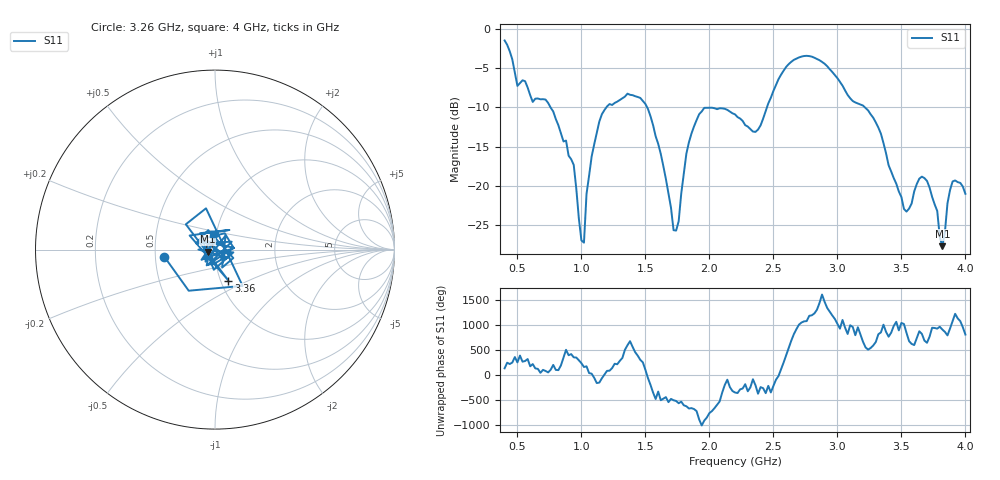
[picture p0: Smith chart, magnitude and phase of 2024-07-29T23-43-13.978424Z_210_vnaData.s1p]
!Created with skrf (http://scikit-rf.org).
# Hz S RI R 50.0
!freq ReS11 ImS11
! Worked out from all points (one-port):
!   181 points, 400 MHz to 4 GHz, reference 50 ohm
!   lowest |S11| = -27.6 dB at 3.82 GHz (marker M1), VSWR 1.09, Z = 46.2 - j1.1 ohm
!   |S11| at or under -10 dB: 759 MHz to 1.195 GHz (435.7 MHz wide, 44.6 % of centre); 1.514 GHz to 2.45 GHz (935.7 MHz wide, 47.2 % of centre); 3.216 GHz to end of sweep
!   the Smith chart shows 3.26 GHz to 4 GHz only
!   S11 on the Smith chart (normalised r, x): 3.26 GHz: 0.56, -0.05; 3.36 GHz: 1.09, -0.39; 4 GHz: 0.97, +0.17
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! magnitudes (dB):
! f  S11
! 400 MHz  -1.5
! 500 MHz  -7.3
! 720 MHz  -9.0
! 860 MHz  -14.3
! 940 MHz  -17.3
! 1 GHz  -26.9
! 1.02 GHz  -27.2
! 1.04 GHz  -21.0
! 1.14 GHz  -11.8
! 1.3 GHz  -9.1
! 1.52 GHz  -10.2
! 1.62 GHz  -15.9
! 1.72 GHz  -25.6
! 1.76 GHz  -24.5
! 1.82 GHz  -15.9
! 1.92 GHz  -10.9
! 2.2 GHz  -10.9
! 2.38 GHz  -12.8
! 2.66 GHz  -3.9
! 2.88 GHz  -4.2
! 3.1 GHz  -8.8
! 3.26 GHz  -10.9
! 3.36 GHz  -14.5
! 3.56 GHz  -22.9
! 3.7 GHz  -19.3
! 3.82 GHz  -27.6
! 3.9 GHz  -19.4
! 4 GHz  -21.0
